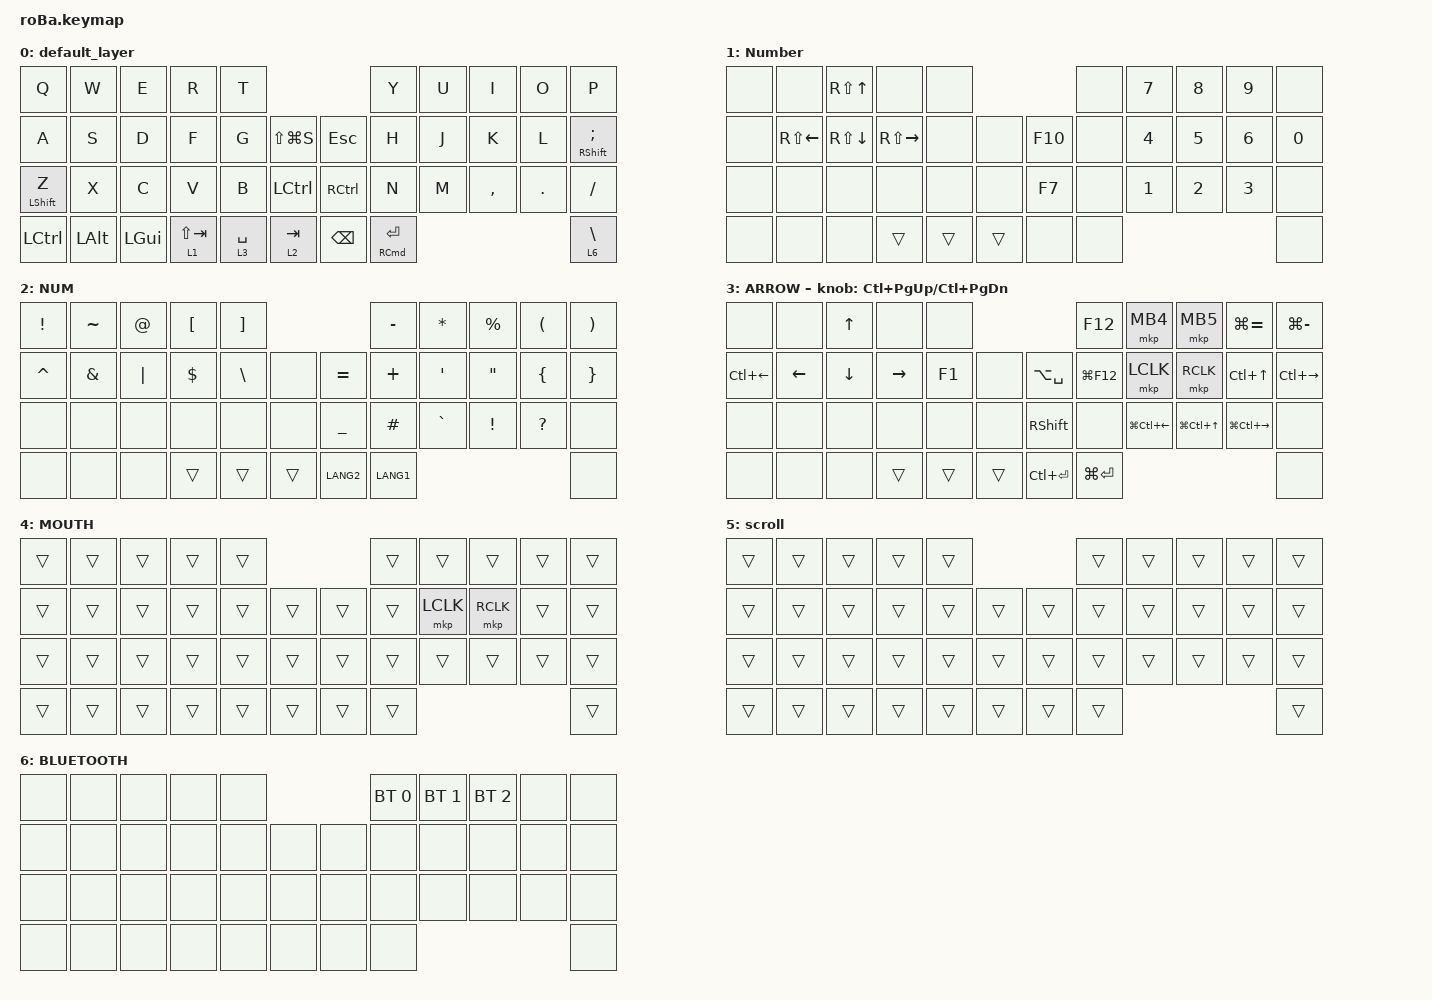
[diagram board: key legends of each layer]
#include <behaviors.dtsi>
#include <dt-bindings/zmk/bt.h>
#include <dt-bindings/zmk/keys.h>
#include <dt-bindings/zmk/pointing.h>

&mt {
    flavor = "balanced";
    quick-tap-ms = <0>;
};

&trackball {
    // automouse-layer = <4>;

    scroll-layers = <1>;

    // arrows {
    //     layers = <3>;
    //     bindings =
    //         <&kp RIGHT_ARROW>,
    //         <&kp LEFT_ARROW>,
    //         <&kp UP_ARROW>,
    //         <&kp DOWN_ARROW>;
    //     tick = <10>;
    //     wait-ms = <5>;
    //     tap-ms = <5>;
    // };
};

/ {
    combos {
        compatible = "zmk,combos";

        tab {
            bindings = <&kp TAB>;
            key-positions = <11 12>;
        };

        shift_tab {
            bindings = <&kp LS(TAB)>;
            key-positions = <12 13>;
        };

        muhennkann {
            bindings = <&to_layer_0 INT_MUHENKAN>;
            key-positions = <11 10>;
        };

        double_quotation {
            bindings = <&kp DOUBLE_QUOTES>;
            key-positions = <20 21>;
        };

        eq {
            bindings = <&kp EQUAL>;
            key-positions = <24 25>;
        };
    };

    macros {
        to_layer_0: to_layer_0 {
            compatible = "zmk,behavior-macro-one-param";
            #binding-cells = <1>;
            bindings = <&to 0 &macro_param_1to1 &kp MACRO_PLACEHOLDER>;
            label = "TO_LAYER_0";
        };
    };

    behaviors {
        lt_to_layer_0: lt_to_layer_0 {
            compatible = "zmk,behavior-hold-tap";
            label = "LAYER_TAP_TO_0";
            bindings = <&mo>, <&to_layer_0>;

            #binding-cells = <2>;
            tapping-term-ms = <200>;
        };
    };

    keymap {
        compatible = "zmk,keymap";

        default_layer {
            bindings = <
&kp Q             &kp W     &kp E     &kp R                     &kp T                                                                &kp Y                    &kp U  &kp I      &kp O    &kp P
&kp A             &kp S     &kp D     &kp F                     &kp G                   &kp LS(LG(S))             &kp ESCAPE         &kp H                    &kp J  &kp K      &kp L    &mt RIGHT_SHIFT SEMI
&mt LEFT_SHIFT Z  &kp X     &kp C     &kp V                     &kp B                   &kp LEFT_CONTROL          &kp RIGHT_CONTROL  &kp N                    &kp M  &kp COMMA  &kp DOT  &kp SLASH
&kp LCTRL         &kp LALT  &kp LGUI  &lt_to_layer_0 1 LS(TAB)  &lt_to_layer_0 3 SPACE  &lt_to_layer_0 2 TAB      &kp BACKSPACE      &mt RIGHT_COMMAND ENTER                             &lt 6 BACKSLASH
            >;
        };

        Number {
            bindings = <
&none  &none         &kp RS(UP_ARROW)  &none          &none                        &none  &kp N7  &kp N8  &kp N9  &none
&none  &kp RS(LEFT)  &kp RS(DOWN)      &kp RS(RIGHT)  &none   &none       &kp F10  &none  &kp N4  &kp N5  &kp N6  &kp N0
&none  &none         &none             &none          &none   &none       &kp F7   &none  &kp N1  &kp N2  &kp N3  &none
&none  &none         &none             &trans         &trans  &trans      &none    &none                          &none
            >;
        };

        NUM {
            bindings = <
&kp EXCL   &kp TILDE      &kp AT_SIGN  &kp LEFT_BRACKET  &kp RIGHT_BRACKET                         &kp MINUS  &kp ASTERISK  &kp PERCENT        &kp LEFT_PARENTHESIS  &kp RIGHT_PARENTHESIS
&kp CARET  &kp AMPERSAND  &kp PIPE     &kp DOLLAR        &kp BACKSLASH      &none       &kp EQUAL  &kp PLUS   &kp SQT       &kp DOUBLE_QUOTES  &kp LEFT_BRACE        &kp RIGHT_BRACE
&none      &none          &none        &none             &none              &none       &kp UNDER  &kp HASH   &kp GRAVE     &kp EXCLAMATION    &kp QUESTION          &none
&none      &none          &none        &trans            &trans             &trans      &kp LANG2  &kp LANG1                                                         &none
            >;
        };

        ARROW {
            bindings = <
&none         &none           &kp UP_ARROW    &none            &none                                &kp F12        &mkp MB4          &mkp MB5        &kp LG(EQUAL)      &kp LG(MINUS)
&kp LC(LEFT)  &kp LEFT_ARROW  &kp DOWN_ARROW  &kp RIGHT_ARROW  &kp F1  &none       &kp LA(SPACE)    &kp LG(F12)    &mkp LCLK         &mkp RCLK       &kp LC(UP)         &kp LC(RIGHT)
&none         &none           &none           &none            &none   &none       &kp RIGHT_SHIFT  &none          &kp LG(LC(LEFT))  &kp LG(LC(UP))  &kp LG(LC(RIGHT))  &none
&none         &none           &none           &trans           &trans  &trans      &kp LC(ENTER)    &kp LG(ENTER)                                                       &none
            >;

            sensor-bindings = <&inc_dec_kp LC(PAGE_UP) LC(PAGE_DOWN)>;
        };

        MOUTH {
            bindings = <
&trans  &trans  &trans  &trans  &trans                      &trans  &trans     &trans     &trans  &trans
&trans  &trans  &trans  &trans  &trans  &trans      &trans  &trans  &mkp LCLK  &mkp RCLK  &trans  &trans
&trans  &trans  &trans  &trans  &trans  &trans      &trans  &trans  &trans     &trans     &trans  &trans
&trans  &trans  &trans  &trans  &trans  &trans      &trans  &trans                                &trans
            >;
        };

        scroll {
            bindings = <
&trans  &trans  &trans  &trans  &trans                      &trans  &trans  &trans  &trans  &trans
&trans  &trans  &trans  &trans  &trans  &trans      &trans  &trans  &trans  &trans  &trans  &trans
&trans  &trans  &trans  &trans  &trans  &trans      &trans  &trans  &trans  &trans  &trans  &trans
&trans  &trans  &trans  &trans  &trans  &trans      &trans  &trans                          &trans
            >;
        };

        BLUETOOTH {
            bindings = <
&none  &none  &none  &none  &none                    &bt BT_SEL 0  &bt BT_SEL 1  &bt BT_SEL 2  &none  &none
&none  &none  &none  &none  &none  &none      &none  &none         &none         &none         &none  &none
&none  &none  &none  &none  &none  &none      &none  &none         &none         &none         &none  &none
&none  &none  &none  &none  &none  &none      &none  &none                                            &none
            >;
        };
    };
};
